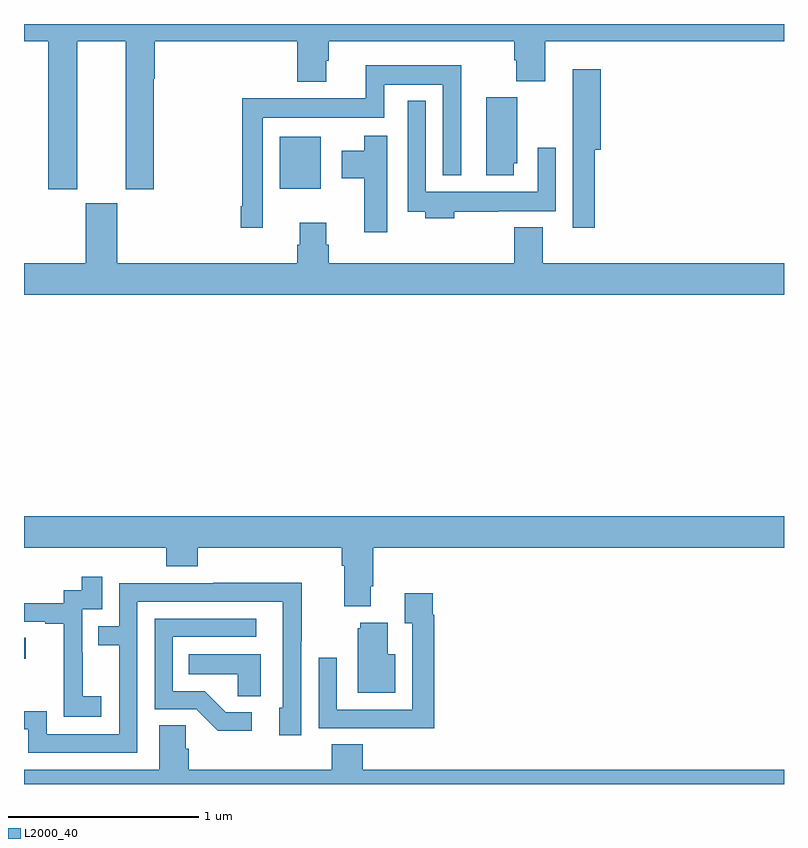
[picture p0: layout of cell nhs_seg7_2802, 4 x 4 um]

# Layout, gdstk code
import gdstk
lib = gdstk.Library(unit=1e-6, precision=1e-09)
def R(c, l, rs):  # rectangles x0, y0, x1, y1
    for r in rs: c.add(gdstk.rectangle(r[:2], r[2:], *l))
def P(c, l, *ps):  # polygons
    for p in ps: c.add(gdstk.Polygon(p, *l))
L2000_40 = (2000, 40)

nhs_seg7_2802 = lib.new_cell('nhs_seg7_2802')
R(nhs_seg7_2802, L2000_40, [(291,1038.659,291.01,1038.769), (292.346,1041.134,292.561,1041.406)])
P(nhs_seg7_2802, L2000_40, [(291.28,1041.908),(291.536,1041.908),(291.536,1041.129),(291.684,1041.129),(291.684,1041.712),(291.689,1041.712),(291.689,1041.908),(292.439,1041.908),(292.439,1041.695),(292.591,1041.695),(292.591,1041.807),(292.604,1041.807),(292.604,1041.908),(293.579,1041.908),(293.579,1041.809),(293.591,1041.809),(293.591,1041.7),(293.744,1041.7),(293.744,1041.908),(295,1041.908),(295,1042),(291,1042),(291,1041.908),(291.128,1041.908),(291.128,1041.129),(291.28,1041.129)],
  [(292.257,1041.506),(292.896,1041.506),(292.896,1041.68),(293.205,1041.68),(293.205,1041.203),(293.302,1041.203),(293.302,1041.784),(292.799,1041.784),(292.799,1041.61),(292.149,1041.61),(292.149,1041.04),(292.141,1041.04),(292.141,1040.928),(292.257,1040.928)],
  [(294.005,1041.338),(294.035,1041.338),(294.035,1041.763),(293.888,1041.763),(293.888,1041.442),(293.889,1041.442),(293.889,1040.928),(294.005,1040.928)],
  [(293.578,1041.267),(293.596,1041.267),(293.596,1041.615),(293.432,1041.615),(293.432,1041.204),(293.578,1041.204)],
  [(293.264,1041.012),(293.495,1041.012),(293.495,1041.014),(293.799,1041.014),(293.799,1041.349),(293.703,1041.349),(293.703,1041.118),(293.115,1041.118),(293.115,1041.595),(293.019,1041.595),(293.019,1041.012),(293.111,1041.012),(293.111,1040.978),(293.264,1040.978)],
  [(292.912,1041.412),(292.79,1041.412),(292.79,1041.334),(292.673,1041.334),(292.673,1041.187),(292.79,1041.187),(292.79,1040.904),(292.912,1040.904)],
  [(295,1040.74),(293.731,1040.74),(293.731,1040.929),(293.579,1040.929),(293.579,1040.74),(292.604,1040.74),(292.604,1040.838),(292.591,1040.838),(292.591,1040.953),(292.451,1040.953),(292.451,1040.838),(292.439,1040.838),(292.439,1040.74),(291.49,1040.74),(291.49,1041.057),(291.326,1041.057),(291.326,1040.74),(291,1040.74),(291,1040.576),(295,1040.576)],
  [(292.825,1039.042),(292.838,1039.042),(292.838,1039.244),(295,1039.244),(295,1039.408),(291,1039.408),(291,1039.244),(291.749,1039.244),(291.749,1039.145),(291.914,1039.145),(291.914,1039.244),(292.673,1039.244),(292.673,1039.148),(292.685,1039.148),(292.685,1038.935),(292.825,1038.935)],
  [(291.406,1038.463),(291.308,1038.463),(291.308,1038.692),(291.306,1038.692),(291.306,1038.921),(291.411,1038.921),(291.411,1039.09),(291.303,1039.09),(291.303,1039.02),(291.21,1039.02),(291.21,1038.951),(291,1038.951),(291,1038.855),(291.113,1038.855),(291.113,1038.843),(291.209,1038.843),(291.209,1038.559),(291.208,1038.559),(291.208,1038.353),(291.406,1038.353)],
  [(291.597,1038.96),(292.362,1038.96),(292.362,1038.402),(292.343,1038.402),(292.343,1038.257),(292.458,1038.257),(292.458,1038.751),(292.461,1038.751),(292.461,1039.058),(291.997,1039.058),(291.997,1039.056),(291.501,1039.056),(291.501,1038.831),(291.391,1038.831),(291.391,1038.73),(291.501,1038.73),(291.501,1038.261),(291.12,1038.261),(291.12,1038.384),(291,1038.384),(291,1038.288),(291.023,1038.288),(291.023,1038.165),(291.597,1038.165)],
  [(293.159,1038.89),(293.152,1038.89),(293.152,1039.003),(293.003,1039.003),(293.003,1038.847),(293.043,1038.847),(293.043,1038.39),(292.647,1038.39),(292.647,1038.664),(292.551,1038.664),(292.551,1038.294),(292.867,1038.294),(292.867,1038.293),(293.159,1038.293)],
  [(292.198,1038.378),(292.063,1038.378),(291.952,1038.489),(291.783,1038.489),(291.783,1038.774),(292.222,1038.774),(292.222,1038.87),(291.687,1038.87),(291.687,1038.393),(291.906,1038.393),(292.019,1038.281),(292.198,1038.281)],
  [(292.954,1038.682),(292.915,1038.682),(292.915,1038.85),(292.769,1038.85),(292.769,1038.819),(292.757,1038.819),(292.757,1038.479),(292.954,1038.479)],
  [(292.246,1038.682),(291.868,1038.682),(291.868,1038.578),(292.125,1038.578),(292.125,1038.463),(292.246,1038.463)],
  [(295,1038.076),(292.784,1038.076),(292.784,1038.209),(292.619,1038.209),(292.619,1038.076),(291.866,1038.076),(291.866,1038.185),(291.852,1038.185),(291.852,1038.308),(291.713,1038.308),(291.713,1038.076),(291,1038.076),(291,1038),(295,1038)])

lib.write_gds('nhs_seg7_2802.gds')
